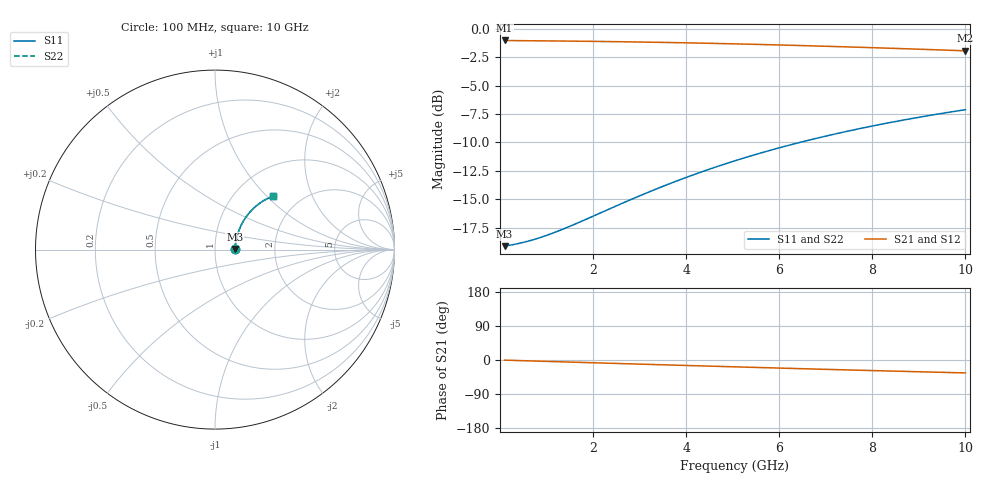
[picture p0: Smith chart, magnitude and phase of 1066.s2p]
# Hz S RI R 50.00
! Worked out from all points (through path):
!   100 points, 100 MHz to 10 GHz, reference 50 ohm
!   highest |S21| = -1.01 dB at 100 MHz (marker M1); lowest = -1.9 dB at 10 GHz (marker M2)
!   group delay of S21, straight-line fit = 9.5 ps
!   lowest |S11| = -19.1 dB at 100 MHz (marker M3), VSWR 1.25, Z = 62.4 + j0.53 ohm
!   |S11| at or under -10 dB: start of sweep to 6.445 GHz
!   |S22| runs from -19.1 to -7.1 dB; largest |S21 - S12| = 0
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1e8  0.1103 0.0042  0.8897 -0.00569  0.8897 -0.00569  0.1103 0.0042
3e8  0.1116 0.0126  0.8884 -0.017  0.8884 -0.017  0.1116 0.0126
5e8  0.1127 0.0209  0.8873 -0.0283  0.8873 -0.0283  0.1127 0.0209
7e8  0.1139 0.0292  0.8861 -0.0396  0.8861 -0.0396  0.1139 0.0292
9e8  0.1152 0.0374  0.8847 -0.0508  0.8847 -0.0508  0.1152 0.0374
1.1e9  0.1166 0.0456  0.8833 -0.062  0.8833 -0.062  0.1166 0.0456
1.3e9  0.1182 0.0538  0.8816 -0.0731  0.8816 -0.0731  0.1182 0.0538
1.8e9  0.1229 0.0739  0.8767 -0.1007  0.8767 -0.1007  0.1229 0.0739
2.8e9  0.1358 0.1129  0.8633 -0.1546  0.8633 -0.1546  0.1358 0.1129
3.4e9  0.1456 0.1352  0.853 -0.1859  0.853 -0.1859  0.1456 0.1352
3.8e9  0.153 0.1495  0.8453 -0.2062  0.8453 -0.2062  0.153 0.1495
4.2e9  0.161 0.1634  0.8369 -0.2261  0.8369 -0.2261  0.161 0.1634
4.6e9  0.1696 0.1767  0.8279 -0.2454  0.8279 -0.2454  0.1696 0.1767
5.1e9  0.1811 0.1926  0.8158 -0.2688  0.8158 -0.2688  0.1811 0.1926
5.5e9  0.191 0.2047  0.8054 -0.287  0.8054 -0.287  0.191 0.2047
5.9e9  0.2013 0.2163  0.7946 -0.3045  0.7946 -0.3045  0.2013 0.2163
6.3e9  0.212 0.2272  0.7833 -0.3215  0.7833 -0.3215  0.212 0.2272
6.7e9  0.2231 0.2375  0.7715 -0.3378  0.7715 -0.3378  0.2231 0.2375
7.5e9  0.2463 0.2562  0.7469 -0.3687  0.7469 -0.3687  0.2463 0.2562
8.4e9  0.2738 0.2742  0.7178 -0.4004  0.7178 -0.4004  0.2738 0.2742
9.2e9  0.2989 0.2875  0.6909 -0.4259  0.6909 -0.4259  0.2989 0.2875
1e10  0.3245 0.2982  0.6634 -0.449  0.6634 -0.449  0.3245 0.2982
